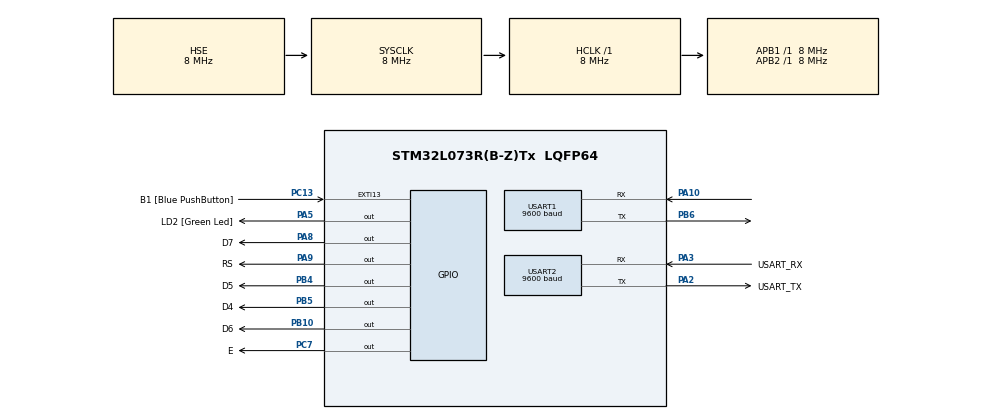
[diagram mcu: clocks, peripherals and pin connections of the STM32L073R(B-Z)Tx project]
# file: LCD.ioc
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Mcu.Family=STM32L0
Mcu.Name=STM32L073R(B-Z)Tx
Mcu.Package=LQFP64
NVIC.USART1_IRQn=true\:0\:0\:false\:false\:true\:true\:true\:true
NVIC.USART2_IRQn=true\:0\:0\:false\:false\:true\:true\:true\:true
PA10.GPIO_PuPd=GPIO_PULLUP
PA10.Mode=Asynchronous
PA10.Signal=USART1_RX
PA13.GPIO_Label=TMS
PA13.Mode=Serial_Wire
PA13.Signal=SYS_SWDIO
PA14.GPIO_Label=TCK
PA14.Mode=Serial_Wire
PA14.Signal=SYS_SWCLK
PA2.GPIO_Label=USART_TX
PA2.Mode=Asynchronous
PA2.Signal=USART2_TX
PA3.GPIO_Label=USART_RX
PA3.Mode=Asynchronous
PA3.Signal=USART2_RX
PA5.GPIO_Label=LD2 [Green Led]
PA5.Signal=GPIO_Output
PA8.GPIO_Label=D7
PA8.Signal=GPIO_Output
PA9.GPIO_Label=RS
PA9.Signal=GPIO_Output
PB10.GPIO_Label=D6
PB10.Signal=GPIO_Output
PB4.GPIO_Label=D5
PB4.Signal=GPIO_Output
PB5.GPIO_Label=D4
PB5.Signal=GPIO_Output
PB6.Mode=Asynchronous
PB6.Signal=USART1_TX
PB9.Signal=I2C1_SDA
PC13.GPIO_Label=B1 [Blue PushButton]
PC13.GPIO_ModeDefaultEXTI=GPIO_MODE_IT_FALLING
PC13.Signal=GPXTI13
PC14-OSC32_IN.Mode=LSE-External-Oscillator
PC14-OSC32_IN.Signal=RCC_OSC32_IN
PC15-OSC32_OUT.Mode=LSE-External-Oscillator
PC15-OSC32_OUT.Signal=RCC_OSC32_OUT
PC7.GPIO_Label=E
PC7.Signal=GPIO_Output
PH0-OSC_IN.GPIO_Label=MCO
PH0-OSC_IN.Mode=HSE-External-Clock-Source
PH0-OSC_IN.Signal=RCC_OSC_IN
ProjectManager.HeapSize=0x200
ProjectManager.StackSize=0x400
ProjectManager.TargetToolchain=MDK-ARM V5.32
RCC.AHBFreq_Value=8000000
RCC.APB1Freq_Value=8000000
RCC.APB1TimFreq_Value=8000000
RCC.APB2Freq_Value=8000000
RCC.APB2TimFreq_Value=8000000
RCC.HCLKFreq_Value=8000000
RCC.HSE_VALUE=8000000
RCC.HSI16_VALUE=16000000
RCC.HSI48_VALUE=48000000
RCC.HSI_VALUE=16000000
RCC.MSI_VALUE=2097000
RCC.SYSCLKFreq_VALUE=8000000
RCC.SYSCLKSource=RCC_SYSCLKSOURCE_HSE
RCC.VCOOutputFreq_Value=48000000
TIM3.Period=1000-1
TIM3.Prescaler=8-1
USART1.BaudRate=9600
USART1.VirtualMode-Asynchronous=VM_ASYNC
USART2.BaudRate=9600
USART2.VirtualMode-Asynchronous=VM_ASYNC
VP_TIM3_VS_ClockSourceINT.Mode=Internal
board=NUCLEO-L073RZ

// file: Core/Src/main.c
/* USER CODE BEGIN Header */
/**
  ******************************************************************************
  * @file           : main.c
  * @brief          : Main program body
  ******************************************************************************
  * @attention
  *
  * Copyright (c) 2025 STMicroelectronics.
  * All rights reserved.
  *
  * This software is licensed under terms that can be found in the LICENSE file
  * in the root directory of this software component.
  * If no LICENSE file comes with this software, it is provided AS-IS.
  *
  ******************************************************************************
  */
/* USER CODE END Header */
#include "main.h"

/* USER CODE BEGIN Includes */
//#include "stm32l0xx_nucleo.h"
#include "lcd.h"
#include <stdio.h>
#include <string.h>
/* USER CODE END Includes */

TIM_HandleTypeDef htim3;

UART_HandleTypeDef huart1;
UART_HandleTypeDef huart2;

/* USER CODE BEGIN PV */
uint8_t rxData;
volatile uint8_t rxIndex = 0;
volatile uint8_t receivedFlag = 0;
char lcdBuf[17];
Lcd_HandleTypeDef lcd;

//char uart1TxBuf[64];
/* USER CODE END PV */

void SystemClock_Config(void);
static void MX_GPIO_Init(void);
static void MX_TIM3_Init(void);
static void MX_USART2_UART_Init(void);
static void MX_USART1_UART_Init(void);

int main(void)
{

  /* MCU Configuration--------------------------------------------------------*/

  /* Reset of all peripherals, Initializes the Flash interface and the Systick. */
  HAL_Init();

  /* Configure the system clock */
  SystemClock_Config();

  /* Initialize all configured peripherals */
  MX_GPIO_Init();
  MX_TIM3_Init();
  MX_USART2_UART_Init();
  MX_USART1_UART_Init();
  /* USER CODE BEGIN 2 */
	//HAL_UART_Receive_IT(&huart2, &rxData, 1);
	HAL_UART_Receive_IT(&huart1, &rxData, 1);
	Lcd_PortType ports[] = { GPIOB, GPIOB, GPIOB, GPIOA };
  Lcd_PinType pins[] = { GPIO_PIN_5, GPIO_PIN_4, GPIO_PIN_10, GPIO_PIN_8 };
  lcd = Lcd_create(ports, pins, GPIOA, GPIO_PIN_9, GPIOC, GPIO_PIN_7, LCD_4_BIT_MODE);

  Lcd_clear(&lcd);
  Lcd_cursor(&lcd, 0, 0);
  Lcd_string(&lcd, "DEFAULT");
  /* USER CODE END 2 */

  /* Infinite loop */
  /* USER CODE BEGIN WHILE */
  while (1)
  {
		 if (receivedFlag)
        {
            if (rxData == '1')
        {
            Lcd_clear(&lcd);
            Lcd_cursor(&lcd, 0, 0);
            Lcd_string(&lcd, "AEB ACTIVATED");

            HAL_GPIO_WritePin(GPIOA, GPIO_PIN_5, GPIO_PIN_SET);
            HAL_Delay(2000);
            HAL_GPIO_WritePin(GPIOA, GPIO_PIN_5, GPIO_PIN_RESET);
        }
            receivedFlag = 0;  // ??? ??
            // ?? UART ??? ?????? ?? ????? ?? ??? ?? ??
        }
    /* USER CODE END WHILE */

  }
}

void SystemClock_Config(void)
{
  RCC_OscInitTypeDef RCC_OscInitStruct = {0};
  RCC_ClkInitTypeDef RCC_ClkInitStruct = {0};
  RCC_PeriphCLKInitTypeDef PeriphClkInit = {0};

  /** Configure the main internal regulator output voltage
  */
  __HAL_PWR_VOLTAGESCALING_CONFIG(PWR_REGULATOR_VOLTAGE_SCALE1);

  /** Initializes the RCC Oscillators according to the specified parameters
  * in the RCC_OscInitTypeDef structure.
  */
  RCC_OscInitStruct.OscillatorType = RCC_OSCILLATORTYPE_HSE;
  RCC_OscInitStruct.HSEState = RCC_HSE_BYPASS;
  RCC_OscInitStruct.PLL.PLLState = RCC_PLL_NONE;
  if (HAL_RCC_OscConfig(&RCC_OscInitStruct) != HAL_OK)
  {
    Error_Handler();
  }

  /** Initializes the CPU, AHB and APB buses clocks
  */
  RCC_ClkInitStruct.ClockType = RCC_CLOCKTYPE_HCLK|RCC_CLOCKTYPE_SYSCLK
                              |RCC_CLOCKTYPE_PCLK1|RCC_CLOCKTYPE_PCLK2;
  RCC_ClkInitStruct.SYSCLKSource = RCC_SYSCLKSOURCE_HSE;
  RCC_ClkInitStruct.AHBCLKDivider = RCC_SYSCLK_DIV1;
  RCC_ClkInitStruct.APB1CLKDivider = RCC_HCLK_DIV1;
  RCC_ClkInitStruct.APB2CLKDivider = RCC_HCLK_DIV1;

  if (HAL_RCC_ClockConfig(&RCC_ClkInitStruct, FLASH_LATENCY_0) != HAL_OK)
  {
    Error_Handler();
  }
  PeriphClkInit.PeriphClockSelection = RCC_PERIPHCLK_USART1|RCC_PERIPHCLK_USART2;
  PeriphClkInit.Usart1ClockSelection = RCC_USART1CLKSOURCE_PCLK2;
  PeriphClkInit.Usart2ClockSelection = RCC_USART2CLKSOURCE_PCLK1;
  if (HAL_RCCEx_PeriphCLKConfig(&PeriphClkInit) != HAL_OK)
  {
    Error_Handler();
  }
}

static void MX_TIM3_Init(void)
{

  TIM_ClockConfigTypeDef sClockSourceConfig = {0};
  TIM_MasterConfigTypeDef sMasterConfig = {0};

  htim3.Instance = TIM3;
  htim3.Init.Prescaler = 8-1;
  htim3.Init.CounterMode = TIM_COUNTERMODE_UP;
  htim3.Init.Period = 1000-1;
  htim3.Init.ClockDivision = TIM_CLOCKDIVISION_DIV1;
  htim3.Init.AutoReloadPreload = TIM_AUTORELOAD_PRELOAD_DISABLE;
  if (HAL_TIM_Base_Init(&htim3) != HAL_OK)
  {
    Error_Handler();
  }
  sClockSourceConfig.ClockSource = TIM_CLOCKSOURCE_INTERNAL;
  if (HAL_TIM_ConfigClockSource(&htim3, &sClockSourceConfig) != HAL_OK)
  {
    Error_Handler();
  }
  sMasterConfig.MasterOutputTrigger = TIM_TRGO_RESET;
  sMasterConfig.MasterSlaveMode = TIM_MASTERSLAVEMODE_DISABLE;
  if (HAL_TIMEx_MasterConfigSynchronization(&htim3, &sMasterConfig) != HAL_OK)
  {
    Error_Handler();
  }

}

static void MX_USART1_UART_Init(void)
{

  huart1.Instance = USART1;
  huart1.Init.BaudRate = 9600;
  huart1.Init.WordLength = UART_WORDLENGTH_8B;
  huart1.Init.StopBits = UART_STOPBITS_1;
  huart1.Init.Parity = UART_PARITY_NONE;
  huart1.Init.Mode = UART_MODE_TX_RX;
  huart1.Init.HwFlowCtl = UART_HWCONTROL_NONE;
  huart1.Init.OverSampling = UART_OVERSAMPLING_16;
  huart1.Init.OneBitSampling = UART_ONE_BIT_SAMPLE_DISABLE;
  huart1.AdvancedInit.AdvFeatureInit = UART_ADVFEATURE_NO_INIT;
  if (HAL_UART_Init(&huart1) != HAL_OK)
  {
    Error_Handler();
  }

}

static void MX_USART2_UART_Init(void)
{

  /* USER CODE BEGIN USART2_Init 1 */
	//HW_VCOM_Init(&huart2);

  /* USER CODE END USART2_Init 1 */
  huart2.Instance = USART2;
  huart2.Init.BaudRate = 9600;
  huart2.Init.WordLength = UART_WORDLENGTH_8B;
  huart2.Init.StopBits = UART_STOPBITS_1;
  huart2.Init.Parity = UART_PARITY_NONE;
  huart2.Init.Mode = UART_MODE_TX_RX;
  huart2.Init.HwFlowCtl = UART_HWCONTROL_NONE;
  huart2.Init.OverSampling = UART_OVERSAMPLING_16;
  huart2.Init.OneBitSampling = UART_ONE_BIT_SAMPLE_DISABLE;
  huart2.AdvancedInit.AdvFeatureInit = UART_ADVFEATURE_NO_INIT;
  if (HAL_UART_Init(&huart2) != HAL_OK)
  {
    Error_Handler();
  }

}

static void MX_GPIO_Init(void)
{
  GPIO_InitTypeDef GPIO_InitStruct = {0};

  /* GPIO Ports Clock Enable */
  __HAL_RCC_GPIOC_CLK_ENABLE();
  __HAL_RCC_GPIOH_CLK_ENABLE();
  __HAL_RCC_GPIOA_CLK_ENABLE();
  __HAL_RCC_GPIOB_CLK_ENABLE();

  /*Configure GPIO pin Output Level */
  HAL_GPIO_WritePin(GPIOA, LD2_Pin|D7_Pin|RS_Pin, GPIO_PIN_RESET);

  /*Configure GPIO pin Output Level */
  HAL_GPIO_WritePin(GPIOB, D6_Pin|D5_Pin|D4_Pin, GPIO_PIN_RESET);

  /*Configure GPIO pin Output Level */
  HAL_GPIO_WritePin(E_GPIO_Port, E_Pin, GPIO_PIN_RESET);

  /*Configure GPIO pin : B1_Pin */
  GPIO_InitStruct.Pin = B1_Pin;
  GPIO_InitStruct.Mode = GPIO_MODE_IT_FALLING;
  GPIO_InitStruct.Pull = GPIO_NOPULL;
  HAL_GPIO_Init(B1_GPIO_Port, &GPIO_InitStruct);

  /*Configure GPIO pins : LD2_Pin D7_Pin RS_Pin */
  GPIO_InitStruct.Pin = LD2_Pin|D7_Pin|RS_Pin;
  GPIO_InitStruct.Mode = GPIO_MODE_OUTPUT_PP;
  GPIO_InitStruct.Pull = GPIO_NOPULL;
  GPIO_InitStruct.Speed = GPIO_SPEED_FREQ_LOW;
  HAL_GPIO_Init(GPIOA, &GPIO_InitStruct);

  /*Configure GPIO pins : D6_Pin D5_Pin D4_Pin */
  GPIO_InitStruct.Pin = D6_Pin|D5_Pin|D4_Pin;
  GPIO_InitStruct.Mode = GPIO_MODE_OUTPUT_PP;
  GPIO_InitStruct.Pull = GPIO_NOPULL;
  GPIO_InitStruct.Speed = GPIO_SPEED_FREQ_LOW;
  HAL_GPIO_Init(GPIOB, &GPIO_InitStruct);

  /*Configure GPIO pin : E_Pin */
  GPIO_InitStruct.Pin = E_Pin;
  GPIO_InitStruct.Mode = GPIO_MODE_OUTPUT_PP;
  GPIO_InitStruct.Pull = GPIO_NOPULL;
  GPIO_InitStruct.Speed = GPIO_SPEED_FREQ_LOW;
  HAL_GPIO_Init(E_GPIO_Port, &GPIO_InitStruct);

  /*Configure GPIO pin : PB9 */
  GPIO_InitStruct.Pin = GPIO_PIN_9;
  GPIO_InitStruct.Mode = GPIO_MODE_AF_OD;
  GPIO_InitStruct.Pull = GPIO_NOPULL;
  GPIO_InitStruct.Speed = GPIO_SPEED_FREQ_VERY_HIGH;
  GPIO_InitStruct.Alternate = GPIO_AF4_I2C1;
  HAL_GPIO_Init(GPIOB, &GPIO_InitStruct);

}

/* USER CODE BEGIN 4 */
void HAL_UART_RxCpltCallback(UART_HandleTypeDef *huart) {
    if (huart->Instance == USART1) {
        receivedFlag = 1;

        HAL_UART_Receive_IT(&huart1, &rxData, 1);
    }
}
/* USER CODE END 4 */

void Error_Handler(void)
{
  __disable_irq();
  while (1)
  {
  }
}
